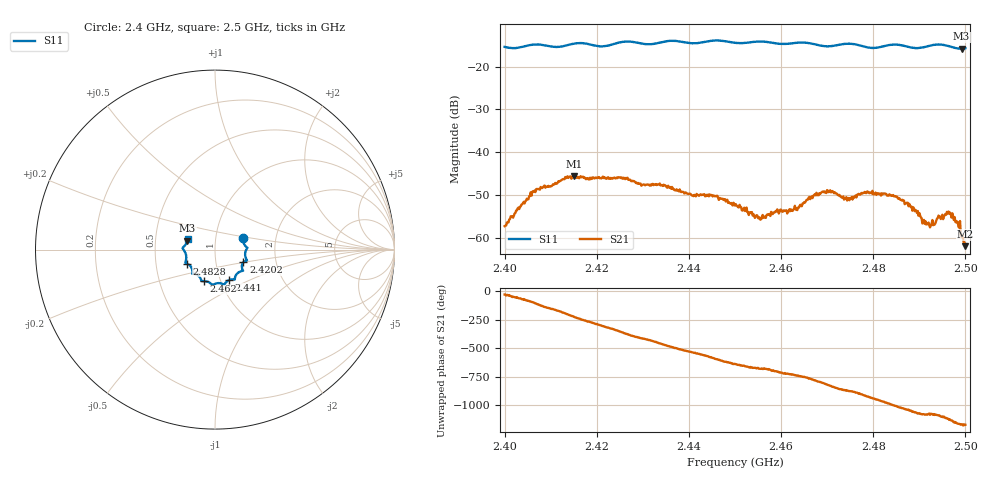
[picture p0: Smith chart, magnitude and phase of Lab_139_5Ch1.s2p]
# Hz S RI R 50
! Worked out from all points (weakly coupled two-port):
!   601 points, 2.4 GHz to 2.5 GHz, reference 50 ohm
!   highest |S21| = -45.55 dB at 2.415 GHz (marker M1); lowest = -62.0 dB at 2.5 GHz (marker M2)
!   lowest |S11| = -15.8 dB at 2.4992 GHz (marker M3), VSWR 1.39, Z = 36.5 + j3.68 ohm
!   |S11| at or under -10 dB: start of sweep to end of sweep
!   S12 and S22 are empty: the file has one direction only
!   S11 on the Smith chart (normalised r, x): 2.4 GHz: 1.36, +0.18; 2.4202 GHz: 1.36, -0.20; 2.441 GHz: 1.10, -0.39; 2.462 GHz: 0.84, -0.30; 2.4828 GHz: 0.72, -0.12; 2.5 GHz: 0.73, +0.09
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2.4e9  0.1573 0.0629  0.00119 -0.000672  0 0  0 0
2.4065e9  0.1804 0.0111  -0.000762 -0.00347  0 0  0 0
2.415e9  0.1762 -0.0554  -0.00382 0.00364  0 0  0 0
2.416667e9  0.1779 -0.06  -0.00179 0.00476  0 0  0 0
2.420167e9  0.1581 -0.0707  0.00178 0.00468  0 0  0 0
2.433333e9  0.1125 -0.1512  -0.000168 -0.00418  0 0  0 0
2.441e9  0.0784 -0.1694  -0.00306 -6e-05  0 0  0 0
2.445667e9  0.0519 -0.1946  -0.00186 0.00241  0 0  0 0
2.45e9  0.0285 -0.1872  0.000312 0.00236  0 0  0 0
2.455333e9  -0.0129 -0.1955  0.0013 0.00114  0 0  0 0
2.462e9  -0.0604 -0.1754  0.00203 -0.000249  0 0  0 0
2.466667e9  -0.0778 -0.1681  0.00183 -0.00244  0 0  0 0
2.4705e9  -0.0998 -0.1408  -0.000918 -0.00336  0 0  0 0
2.474333e9  -0.1257 -0.1353  -0.00239 -0.00129  0 0  0 0
2.478333e9  -0.1271 -0.1118  -0.00318 0.000999  0 0  0 0
2.482833e9  -0.1576 -0.0774  -0.000801 0.00314  0 0  0 0
2.483333e9  -0.1607 -0.0762  -0.000399 0.00307  0 0  0 0
2.487833e9  -0.1605 -0.0517  0.00206 0.00139  0 0  0 0
2.492e9  -0.1738 -0.00207  0.0015 0.000142  0 0  0 0
2.496833e9  -0.1687 0.0216  0.00118 -0.00145  0 0  0 0
2.499167e9  -0.1538 0.0491  6.86e-05 -0.00102  0 0  0 0
2.5e9  -0.1517 0.0611  -6.6e-07 -0.000797  0 0  0 0
